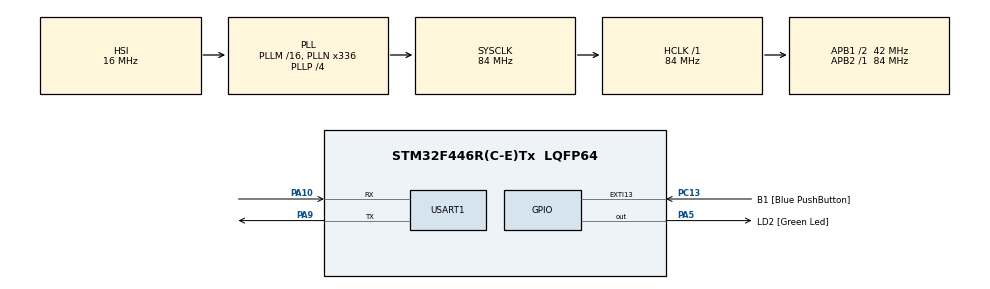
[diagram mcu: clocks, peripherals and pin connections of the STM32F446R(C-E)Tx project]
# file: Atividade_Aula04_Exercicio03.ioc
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FREERTOS.CountingSemaphores01=CountingSem01,1,Dynamic,NULL,1
FREERTOS.Tasks01=Task01,24,128,StartTask01,Default,NULL,Dynamic,NULL,NULL;Task02,24,128,StartTask02,Default,NULL,Dynamic,NULL,NULL
FREERTOS.configUSE_NEWLIB_REENTRANT=1
Mcu.Family=STM32F4
Mcu.Name=STM32F446R(C-E)Tx
Mcu.Package=LQFP64
NVIC.PriorityGroup=NVIC_PRIORITYGROUP_4
NVIC.TIM6_DAC_IRQn=true\:15\:0\:false\:false\:true\:false\:false\:true\:true
NVIC.TimeBase=TIM6_DAC_IRQn
NVIC.TimeBaseIP=TIM6
PA10.Mode=Asynchronous
PA10.Signal=USART1_RX
PA13.GPIO_Label=TMS
PA13.Mode=Serial_Wire
PA13.Signal=SYS_JTMS-SWDIO
PA14.GPIO_Label=TCK
PA14.Mode=Serial_Wire
PA14.Signal=SYS_JTCK-SWCLK
PA5.GPIO_Label=LD2 [Green Led]
PA5.Signal=GPIO_Output
PA9.Mode=Asynchronous
PA9.Signal=USART1_TX
PB3.GPIO_Label=SWO
PB3.Signal=SYS_JTDO-SWO
PC13.GPIO_Label=B1 [Blue PushButton]
PC13.GPIO_ModeDefaultEXTI=GPIO_MODE_IT_FALLING
PC13.Signal=GPXTI13
PC14-OSC32_IN.Mode=LSE-External-Oscillator
PC14-OSC32_IN.Signal=RCC_OSC32_IN
PC15-OSC32_OUT.Mode=LSE-External-Oscillator
PC15-OSC32_OUT.Signal=RCC_OSC32_OUT
PH0-OSC_IN.Mode=HSE-External-Oscillator
PH0-OSC_IN.Signal=RCC_OSC_IN
PH1-OSC_OUT.Mode=HSE-External-Oscillator
PH1-OSC_OUT.Signal=RCC_OSC_OUT
ProjectManager.HeapSize=0x200
ProjectManager.StackSize=0x400
ProjectManager.TargetToolchain=STM32CubeIDE
RCC.AHBFreq_Value=84000000
RCC.APB1CLKDivider=RCC_HCLK_DIV2
RCC.APB1Freq_Value=42000000
RCC.APB1TimFreq_Value=84000000
RCC.APB2Freq_Value=84000000
RCC.APB2TimFreq_Value=84000000
RCC.CortexFreq_Value=84000000
RCC.FLatency-AdvancedSettings=FLASH_LATENCY_2
RCC.HCLKFreq_Value=84000000
RCC.HSE_VALUE=8000000
RCC.HSI_VALUE=16000000
RCC.PLLN=336
RCC.PLLP=RCC_PLLP_DIV4
RCC.SYSCLKFreq_VALUE=84000000
RCC.SYSCLKSource=RCC_SYSCLKSOURCE_PLLCLK
RCC.USBFreq_Value=168000000
RCC.VCOOutputFreq_Value=336000000
USART1.VirtualMode=VM_ASYNC
VP_FREERTOS_VS_CMSIS_V2.Mode=CMSIS_V2
VP_SYS_VS_tim6.Mode=TIM6
board=NUCLEO-F446RE

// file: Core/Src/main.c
/* USER CODE BEGIN Header */
/**
  ******************************************************************************
  * @file           : main.c
  * @brief          : Main program body
  ******************************************************************************
  * @attention
  *
  * Copyright (c) 2025 STMicroelectronics.
  * All rights reserved.
  *
  * This software is licensed under terms that can be found in the LICENSE file
  * in the root directory of this software component.
  * If no LICENSE file comes with this software, it is provided AS-IS.
  *
  ******************************************************************************
  */
/* USER CODE END Header */
#include "main.h"
#include "cmsis_os.h"

/* USER CODE BEGIN Includes */
#include<stdio.h>
#include<string.h>

/* USER CODE END Includes */

UART_HandleTypeDef huart1;

/* Definitions for Task01 */
osThreadId_t Task01Handle;
const osThreadAttr_t Task01_attributes = {
  .name = "Task01",
  .stack_size = 128 * 4,
  .priority = (osPriority_t) osPriorityNormal,
};
/* Definitions for Task02 */
osThreadId_t Task02Handle;
const osThreadAttr_t Task02_attributes = {
  .name = "Task02",
  .stack_size = 128 * 4,
  .priority = (osPriority_t) osPriorityNormal,
};
/* Definitions for CountingSem01 */
osSemaphoreId_t CountingSem01Handle;
const osSemaphoreAttr_t CountingSem01_attributes = {
  .name = "CountingSem01"
};

void SystemClock_Config(void);
static void MX_GPIO_Init(void);
static void MX_USART1_UART_Init(void);
void StartTask01(void *argument);
void StartTask02(void *argument);

int main(void)
{

  /* MCU Configuration--------------------------------------------------------*/

  /* Reset of all peripherals, Initializes the Flash interface and the Systick. */
  HAL_Init();

  /* Configure the system clock */
  SystemClock_Config();

  /* Initialize all configured peripherals */
  MX_GPIO_Init();
  MX_USART1_UART_Init();

  /* Init scheduler */
  osKernelInitialize();

  /* Create the semaphores(s) */
  /* creation of CountingSem01 */
  CountingSem01Handle = osSemaphoreNew(1, 1, &CountingSem01_attributes);

  /* Create the thread(s) */
  /* creation of Task01 */
  Task01Handle = osThreadNew(StartTask01, NULL, &Task01_attributes);

  /* creation of Task02 */
  Task02Handle = osThreadNew(StartTask02, NULL, &Task02_attributes);

  /* Start scheduler */
  osKernelStart();

  /* We should never get here as control is now taken by the scheduler */

  /* Infinite loop */
  while (1)
  {

  }
}

void SystemClock_Config(void)
{
  RCC_OscInitTypeDef RCC_OscInitStruct = {0};
  RCC_ClkInitTypeDef RCC_ClkInitStruct = {0};

  /** Configure the main internal regulator output voltage
  */
  __HAL_RCC_PWR_CLK_ENABLE();
  __HAL_PWR_VOLTAGESCALING_CONFIG(PWR_REGULATOR_VOLTAGE_SCALE3);

  /** Initializes the RCC Oscillators according to the specified parameters
  * in the RCC_OscInitTypeDef structure.
  */
  RCC_OscInitStruct.OscillatorType = RCC_OSCILLATORTYPE_HSI;
  RCC_OscInitStruct.HSIState = RCC_HSI_ON;
  RCC_OscInitStruct.HSICalibrationValue = RCC_HSICALIBRATION_DEFAULT;
  RCC_OscInitStruct.PLL.PLLState = RCC_PLL_ON;
  RCC_OscInitStruct.PLL.PLLSource = RCC_PLLSOURCE_HSI;
  RCC_OscInitStruct.PLL.PLLM = 16;
  RCC_OscInitStruct.PLL.PLLN = 336;
  RCC_OscInitStruct.PLL.PLLP = RCC_PLLP_DIV4;
  RCC_OscInitStruct.PLL.PLLQ = 2;
  RCC_OscInitStruct.PLL.PLLR = 2;
  if (HAL_RCC_OscConfig(&RCC_OscInitStruct) != HAL_OK)
  {
    Error_Handler();
  }

  /** Initializes the CPU, AHB and APB buses clocks
  */
  RCC_ClkInitStruct.ClockType = RCC_CLOCKTYPE_HCLK|RCC_CLOCKTYPE_SYSCLK
                              |RCC_CLOCKTYPE_PCLK1|RCC_CLOCKTYPE_PCLK2;
  RCC_ClkInitStruct.SYSCLKSource = RCC_SYSCLKSOURCE_PLLCLK;
  RCC_ClkInitStruct.AHBCLKDivider = RCC_SYSCLK_DIV1;
  RCC_ClkInitStruct.APB1CLKDivider = RCC_HCLK_DIV2;
  RCC_ClkInitStruct.APB2CLKDivider = RCC_HCLK_DIV1;

  if (HAL_RCC_ClockConfig(&RCC_ClkInitStruct, FLASH_LATENCY_2) != HAL_OK)
  {
    Error_Handler();
  }
}

static void MX_USART1_UART_Init(void)
{

  huart1.Instance = USART1;
  huart1.Init.BaudRate = 115200;
  huart1.Init.WordLength = UART_WORDLENGTH_8B;
  huart1.Init.StopBits = UART_STOPBITS_1;
  huart1.Init.Parity = UART_PARITY_NONE;
  huart1.Init.Mode = UART_MODE_TX_RX;
  huart1.Init.HwFlowCtl = UART_HWCONTROL_NONE;
  huart1.Init.OverSampling = UART_OVERSAMPLING_16;
  if (HAL_UART_Init(&huart1) != HAL_OK)
  {
    Error_Handler();
  }

}

static void MX_GPIO_Init(void)
{
  GPIO_InitTypeDef GPIO_InitStruct = {0};

  /* GPIO Ports Clock Enable */
  __HAL_RCC_GPIOC_CLK_ENABLE();
  __HAL_RCC_GPIOH_CLK_ENABLE();
  __HAL_RCC_GPIOA_CLK_ENABLE();
  __HAL_RCC_GPIOB_CLK_ENABLE();

  /*Configure GPIO pin Output Level */
  HAL_GPIO_WritePin(LD2_GPIO_Port, LD2_Pin, GPIO_PIN_RESET);

  /*Configure GPIO pin : B1_Pin */
  GPIO_InitStruct.Pin = B1_Pin;
  GPIO_InitStruct.Mode = GPIO_MODE_IT_FALLING;
  GPIO_InitStruct.Pull = GPIO_NOPULL;
  HAL_GPIO_Init(B1_GPIO_Port, &GPIO_InitStruct);

  /*Configure GPIO pin : LD2_Pin */
  GPIO_InitStruct.Pin = LD2_Pin;
  GPIO_InitStruct.Mode = GPIO_MODE_OUTPUT_PP;
  GPIO_InitStruct.Pull = GPIO_NOPULL;
  GPIO_InitStruct.Speed = GPIO_SPEED_FREQ_LOW;
  HAL_GPIO_Init(LD2_GPIO_Port, &GPIO_InitStruct);

}

void StartTask01(void *argument)
{
  /* USER CODE BEGIN 5 */
  /* Infinite loop */
  char *str = "Task1: Tentando adquirir o semaforo...\r\n";
  char *str1 = "Task1: Semaforo adquirido. Trabalhando...\r\n";
  char buffer[64];
  for(;;)
  {
	  HAL_UART_Transmit(&huart1, (uint8_t *)str,strlen(str),100);
	  if(osSemaphoreAcquire(CountingSem01Handle, osWaitForever) ==  osOK)
	  {
		  HAL_UART_Transmit(&huart1, (uint8_t *)str1,strlen(str1),100);
		  osDelay(3000);
	  }

	  uint32_t count = osSemaphoreGetCount(CountingSem01Handle);
	  snprintf(buffer,64,"Task01: Contagem do Semaforo: %lu",count);
	  HAL_UART_Transmit(&huart1, (uint8_t *)buffer,strlen(buffer),100);

	  osDelay(1000);

  }
  /* USER CODE END 5 */
}

void StartTask02(void *argument)
{
  /* USER CODE BEGIN StartTask02 */
  /* Infinite loop */
	osDelay(1000);
  //char *str = "Task1: Tentando adquirir o semáforo...\r\n";
  //char *str1 = "Task1: Semaforo adquirido. Trabalhando...\r\n";
  char *str2 = "Task2: Semaforo indisponivel. Fazendo release manual...\r\n";
  char *str3 = "Task2: Tentando adquirir semaforo...\r\n";
  char *str4 = "Task2: Semaforo adquirido apos release manual!\r\n";
  char buffer[64];

  for(;;)
  {
	 uint32_t count = osSemaphoreGetCount(CountingSem01Handle);
	 snprintf(buffer,64,"Task02: Contagem do Semaforo: %lu",count);
	 HAL_UART_Transmit(&huart1, (uint8_t *)buffer,strlen(buffer),100);

	 if(count == 0 )
	 {
		 HAL_UART_Transmit(&huart1, (uint8_t *)str2, strlen(str2),100);
		 osSemaphoreRelease(CountingSem01Handle);

		 count = osSemaphoreGetCount(CountingSem01Handle);
		 snprintf(buffer,64,"Task2: Nova contagem: %lu\r\n",count);
		 HAL_UART_Transmit(&huart1, (uint8_t *)buffer, strlen(buffer),100);

		 HAL_UART_Transmit(&huart1, (uint8_t *) str3, strlen(str3),100);

		 if(osSemaphoreAcquire(CountingSem01Handle, osWaitForever) == osOK)
		 {
			 HAL_UART_Transmit(&huart1, (uint8_t *)str4,strlen(str4),100);
			 osSemaphoreRelease(CountingSem01Handle);

		 }

	 }

    osDelay(2000);
  }
  /* USER CODE END StartTask02 */
}

void HAL_TIM_PeriodElapsedCallback(TIM_HandleTypeDef *htim)
{
  if (htim->Instance == TIM6) {
    HAL_IncTick();
  }
}

void Error_Handler(void)
{
  __disable_irq();
  while (1)
  {
  }
}
